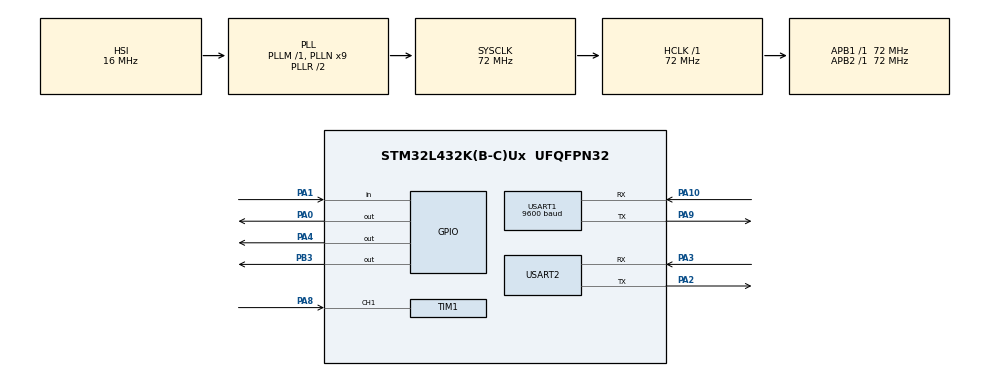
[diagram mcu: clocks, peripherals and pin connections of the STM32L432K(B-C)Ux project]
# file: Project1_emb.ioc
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Mcu.Family=STM32L4
Mcu.Name=STM32L432K(B-C)Ux
Mcu.Package=UFQFPN32
NVIC.PriorityGroup=NVIC_PRIORITYGROUP_4
NVIC.TIM1_CC_IRQn=true\:0\:0\:false\:false\:true\:true\:true
NVIC.USART1_IRQn=true\:0\:0\:false\:false\:true\:true\:true
PA0.Signal=GPIO_Output
PA1.Signal=GPIO_Input
PA10.Mode=Asynchronous
PA10.Signal=USART1_RX
PA13\ (JTMS-SWDIO).Mode=Serial_Wire
PA13\ (JTMS-SWDIO).Signal=SYS_JTMS-SWDIO
PA14\ (JTCK-SWCLK).Mode=Serial_Wire
PA14\ (JTCK-SWCLK).Signal=SYS_JTCK-SWCLK
PA2.Mode=Asynchronous
PA2.Signal=USART2_TX
PA3.Mode=Asynchronous
PA3.Signal=USART2_RX
PA4.Signal=GPIO_Output
PA8.Signal=S_TIM1_CH1
PA9.Mode=Asynchronous
PA9.Signal=USART1_TX
PB3\ (JTDO-TRACESWO).Signal=GPIO_Output
ProjectManager.HeapSize=0x200
ProjectManager.StackSize=0x400
ProjectManager.TargetToolchain=MDK-ARM V5
RCC.ADCFreq_Value=64000000
RCC.AHBFreq_Value=72000000
RCC.APB1Freq_Value=72000000
RCC.APB1TimFreq_Value=72000000
RCC.APB2Freq_Value=72000000
RCC.APB2TimFreq_Value=72000000
RCC.CortexFreq_Value=72000000
RCC.HCLKFreq_Value=72000000
RCC.HSE_VALUE=8000000
RCC.HSI48_VALUE=48000000
RCC.HSI_VALUE=16000000
RCC.LSE_VALUE=32768
RCC.MSI_VALUE=4000000
RCC.PLLN=9
RCC.PLLSourceVirtual=RCC_PLLSOURCE_HSI
RCC.SYSCLKFreq_VALUE=72000000
RCC.SYSCLKSource=RCC_SYSCLKSOURCE_PLLCLK
RCC.USBFreq_Value=64000000
RCC.VCOOutputFreq_Value=144000000
SH.S_TIM1_CH1.0=TIM1_CH1,Input_Capture1_from_TI1
TIM1.Channel-Input_Capture1_from_TI1=TIM_CHANNEL_1
TIM1.Period=0xffff-1
TIM1.Prescaler=72-1
USART1.BaudRate=9600
USART1.VirtualMode-Asynchronous=VM_ASYNC
USART2.VirtualMode-Asynchronous=VM_ASYNC
board=custom

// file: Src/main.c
/* USER CODE BEGIN Header */
/**
  ******************************************************************************
  * @file           : main.c
  * @brief          : Main program body
  ******************************************************************************
  * @attention
  *
  * <h2><center>&copy; Copyright (c) 2021 STMicroelectronics.
  * All rights reserved.</center></h2>
  *
  * This software component is licensed by ST under BSD 3-Clause license,
  * the "License"; You may not use this file except in compliance with the
  * License. You may obtain a copy of the License at:
  *                        opensource.org/licenses/BSD-3-Clause
  *
  ******************************************************************************
  */
/* USER CODE END Header */

#include "main.h"
#include <stdio.h>
#include <stdlib.h>

/* USER CODE BEGIN PM */
#define TRIG_PIN GPIO_PIN_0
#define TRIG_PORT GPIOA
#define buzz_pin GPIO_PIN_4
#define buzz_PORT GPIOA
/* USER CODE END PM */

TIM_HandleTypeDef htim1;

UART_HandleTypeDef huart1;
UART_HandleTypeDef huart2;

/* USER CODE BEGIN PV */
int taskCount;
struct task currentTask;
struct task readyQueue[255]={NULL};
struct task delayQueue[255]={NULL};
/* USER CODE END PV */

void SystemClock_Config(void);
static void MX_GPIO_Init(void);
static void MX_USART1_UART_Init(void);
static void MX_USART2_UART_Init(void);
static void MX_TIM1_Init(void);
uint8_t capture_counter;

/* USER CODE BEGIN 0 */
int num_of_elements(struct task queue[]){
	int i=0;
		while((queue[i].funcName != NULL)&& i < 255)
		{
			i++;
		}
		return i;
}

uint8_t hexToAscii(uint8_t n)//4-bit hex value converted to an ascii character
{
 if (n>=0 && n<=9) n = n + '0';
 else n = n - 10 + 'A';
 return n;
}

void init(){
	taskCount = 0;
	capture_counter = 0;
}

void swap(struct task *xp, struct task *yp)
{
    struct task temp = *xp;
    *xp = *yp;
    *yp = temp;
}

void bubbleSort(struct task arr[], int n)
{
   int i, j;
   for (i = 0; i < n-1; i++)
       // Last i elements are already in place
       for (j = 0; j < n-i-1; j++)
					if(arr[j].priority >= 1 && arr[j].priority <= 8 && arr[j+1].priority >= 1 && arr[j+1].priority <= 8){
           if (arr[j].priority > arr[j+1].priority)
              swap(&arr[j], &arr[j+1]);
				 }
}

void QueTask(int priority, void (*funcName)(void)){
	unsigned char temp[8] = {'F', 'A', 'I', 'L', '\r', '\n'};
	if(priority >= 1 && priority <= 8){
		int n = num_of_elements(readyQueue);
		if(n == 0){
			readyQueue[0].priority = priority;
			readyQueue[0].funcName = funcName;
			//taskCount++;
		}
		else{
			readyQueue[n].priority = priority;
			readyQueue[n].funcName = funcName;
			bubbleSort(readyQueue, taskCount);
			//taskCount++;
		}
	}
	else
		HAL_UART_Transmit(&huart2, temp, 6, 10);
}

void ReRunMe(int volatile delayUnit){
	if(delayUnit == 0){
		QueTask(currentTask.priority, currentTask.funcName);
	}
	else{
		int volatile n = num_of_elements(delayQueue);
		delayQueue[n].priority = currentTask.priority;
		delayQueue[n].funcName = currentTask.funcName;
		currentTask.delay = delayUnit;
		delayQueue[n].delay = currentTask.delay;
		currentTask.currentSysTick = HAL_GetTick();
	}
}

int shift(int incr, struct task queue[], int size){
	int i = 0;
	while(i <= size){
		queue[i] = queue[i+1];
		i++;
	}
	return(incr--);
}

void Dispatch(){
	int volatile n = num_of_elements(readyQueue);
	//int n = sizeof(readyQueue);
	if(n != 0){
		void (*func)(void) = readyQueue[0].funcName;
		currentTask.funcName = readyQueue[0].funcName;
		currentTask.priority = readyQueue[0].priority;
		func();
		shift(0, readyQueue, n);
		bubbleSort(readyQueue, n);
	}
}

// Let's write the callback function

void HAL_TIM_IC_CaptureCallback(TIM_HandleTypeDef *htim)
{
	if (htim->Channel == HAL_TIM_ACTIVE_CHANNEL_1)  // if the interrupt source is channel1
	{
		if (capture_counter==0)
		{
			capture_counter = 1;  // set the first captured as true
			HAL_GPIO_WritePin(buzz_PORT, buzz_pin, GPIO_PIN_RESET);
			// Now change the polarity to falling edge
			__HAL_TIM_SET_CAPTUREPOLARITY(htim, TIM_CHANNEL_1, TIM_INPUTCHANNELPOLARITY_FALLING);
		}

		else
		{
			__HAL_TIM_SET_COUNTER(htim, 0);  // reset the counter
			HAL_GPIO_WritePin(buzz_PORT, buzz_pin, GPIO_PIN_SET);
			capture_counter = 0; // set it back to false
			// set polarity to rising edge
			__HAL_TIM_SET_CAPTUREPOLARITY(htim, TIM_CHANNEL_1, TIM_INPUTCHANNELPOLARITY_RISING);
			__HAL_TIM_DISABLE_IT(&htim1, TIM_IT_CC1);
		}

	}
}

void TaskA(){
//	unsigned char temp[8] = {'T', 'A', 'S', 'K', ' ', '1', '\r', '\n'};
//	HAL_UART_Transmit(&huart2, temp, 8, 10);
//	ReRunMe(0);
	// do something here
	HAL_TIM_IC_Start_IT(&htim1, TIM_CHANNEL_1);
	HAL_GPIO_TogglePin(GPIOB, GPIO_PIN_3);
	// Rerun again after 10 ticks (500 msec)
	//ReRunMe(1000);
}

void TaskB(){
//	unsigned char temp[8] = {'T', 'A', 'S', 'K', ' ', '2', '\r', '\n'};
//	HAL_UART_Transmit(&huart2, temp, 8, 10);
//	ReRunMe(0);
	HAL_GPIO_WritePin(TRIG_PORT, TRIG_PIN, GPIO_PIN_SET);  // pull the TRIG pin HIGH
	HAL_Delay(10);  // wait for 10 us
	HAL_GPIO_WritePin(TRIG_PORT, TRIG_PIN, GPIO_PIN_RESET);  // pull the TRIG pin low

	__HAL_TIM_ENABLE_IT(&htim1, TIM_IT_CC1);
	// Rerun again after 10 ticks (500 msec)
	ReRunMe(1);
}
void TaskC(){
	unsigned char temp[8] = {'T', 'A', 'S', 'K', ' ', '3', '\r', '\n'};
	HAL_UART_Transmit(&huart2, temp, 8, 10);
	ReRunMe(0);
//	HAL_GPIO_WritePin(TRIG_PORT, TRIG_PIN, GPIO_PIN_SET);  // pull the TRIG pin HIGH
//	HAL_Delay(10);  // wait for 10 us
//	HAL_GPIO_WritePin(TRIG_PORT, TRIG_PIN, GPIO_PIN_RESET);  // pull the TRIG pin low

//	__HAL_TIM_ENABLE_IT(&htim1, TIM_IT_CC1);
//	// Rerun again after 10 ticks (500 msec)
//	ReRunMe(5);
}

void test(){
	// Tests
	unsigned char temp[11] = {'T', 'E', 'S', 'T', ' ', 'F', 'A', 'I', 'L', '\r', '\n'};
	unsigned char temp2[11] = {'T', 'E', 'S', 'T', ' ', 'S', 'U', 'C', 'C', '\r', '\n'};
	struct task test_shift[255] = {NULL};
	int xs = 0;
	int change = 0;
	for(xs = 0; xs < 50; xs++){
		if(change == 0){
			test_shift[xs].funcName = TaskA;
			test_shift[xs].priority = 1;
			TaskA();
			change = 1;
		}
		else{
			test_shift[xs].funcName = TaskB;
			test_shift[xs].priority = 4;
			TaskB();
			change = 0;
		}
	}
	for(xs = 0; xs < 50; xs++){
		void (*func)(void) = test_shift[xs].funcName;
		func();
	}
	int volatile n = num_of_elements(test_shift);
	bubbleSort(test_shift, n);
	if(n != 50)
		HAL_UART_Transmit(&huart2, temp, sizeof(temp), HAL_MAX_DELAY);
	else
		HAL_UART_Transmit(&huart2, temp2, 11, HAL_MAX_DELAY);
	shift(0, test_shift, n);
	n = num_of_elements(test_shift);
	if(n != 49)
		HAL_UART_Transmit(&huart2, temp, 11, HAL_MAX_DELAY);
	else
		HAL_UART_Transmit(&huart2, temp2, 11, HAL_MAX_DELAY);
}

/* USER CODE END 0 */

int main(void)
{

  /* MCU Configuration--------------------------------------------------------*/

  /* Reset of all peripherals, Initializes the Flash interface and the Systick. */
  HAL_Init();

  /* Configure the system clock */
  SystemClock_Config();

  /* Initialize all configured peripherals */
  MX_GPIO_Init();
  MX_USART1_UART_Init();
  MX_USART2_UART_Init();
  MX_TIM1_Init();
  /* USER CODE BEGIN 2 */
	init();
	QueTask(1,TaskA);
	QueTask(2,TaskB);
  /* USER CODE END 2 */

  /* Infinite loop */
  while (1)
  {
		Dispatch();
    /* USER CODE BEGIN 3 */
//		HCSR04_Read();
//		HAL_Delay(200);
  }
  /* USER CODE END 3 */
}

void SystemClock_Config(void)
{
  RCC_OscInitTypeDef RCC_OscInitStruct = {0};
  RCC_ClkInitTypeDef RCC_ClkInitStruct = {0};
  RCC_PeriphCLKInitTypeDef PeriphClkInit = {0};

  /** Initializes the CPU, AHB and APB busses clocks
  */
  RCC_OscInitStruct.OscillatorType = RCC_OSCILLATORTYPE_HSI;
  RCC_OscInitStruct.HSIState = RCC_HSI_ON;
  RCC_OscInitStruct.HSICalibrationValue = RCC_HSICALIBRATION_DEFAULT;
  RCC_OscInitStruct.PLL.PLLState = RCC_PLL_ON;
  RCC_OscInitStruct.PLL.PLLSource = RCC_PLLSOURCE_HSI;
  RCC_OscInitStruct.PLL.PLLM = 1;
  RCC_OscInitStruct.PLL.PLLN = 9;
  RCC_OscInitStruct.PLL.PLLP = RCC_PLLP_DIV7;
  RCC_OscInitStruct.PLL.PLLQ = RCC_PLLQ_DIV2;
  RCC_OscInitStruct.PLL.PLLR = RCC_PLLR_DIV2;
  if (HAL_RCC_OscConfig(&RCC_OscInitStruct) != HAL_OK)
  {
    Error_Handler();
  }
  /** Initializes the CPU, AHB and APB busses clocks
  */
  RCC_ClkInitStruct.ClockType = RCC_CLOCKTYPE_HCLK|RCC_CLOCKTYPE_SYSCLK
                              |RCC_CLOCKTYPE_PCLK1|RCC_CLOCKTYPE_PCLK2;
  RCC_ClkInitStruct.SYSCLKSource = RCC_SYSCLKSOURCE_PLLCLK;
  RCC_ClkInitStruct.AHBCLKDivider = RCC_SYSCLK_DIV1;
  RCC_ClkInitStruct.APB1CLKDivider = RCC_HCLK_DIV1;
  RCC_ClkInitStruct.APB2CLKDivider = RCC_HCLK_DIV1;

  if (HAL_RCC_ClockConfig(&RCC_ClkInitStruct, FLASH_LATENCY_4) != HAL_OK)
  {
    Error_Handler();
  }
  PeriphClkInit.PeriphClockSelection = RCC_PERIPHCLK_USART1|RCC_PERIPHCLK_USART2;
  PeriphClkInit.Usart1ClockSelection = RCC_USART1CLKSOURCE_PCLK2;
  PeriphClkInit.Usart2ClockSelection = RCC_USART2CLKSOURCE_PCLK1;
  if (HAL_RCCEx_PeriphCLKConfig(&PeriphClkInit) != HAL_OK)
  {
    Error_Handler();
  }
  /** Configure the main internal regulator output voltage
  */
  if (HAL_PWREx_ControlVoltageScaling(PWR_REGULATOR_VOLTAGE_SCALE1) != HAL_OK)
  {
    Error_Handler();
  }
}

static void MX_TIM1_Init(void)
{

  TIM_MasterConfigTypeDef sMasterConfig = {0};
  TIM_IC_InitTypeDef sConfigIC = {0};

  htim1.Instance = TIM1;
  htim1.Init.Prescaler = 72-1;
  htim1.Init.CounterMode = TIM_COUNTERMODE_UP;
  htim1.Init.Period = 0xffff-1;
  htim1.Init.ClockDivision = TIM_CLOCKDIVISION_DIV1;
  htim1.Init.RepetitionCounter = 0;
  htim1.Init.AutoReloadPreload = TIM_AUTORELOAD_PRELOAD_DISABLE;
  if (HAL_TIM_IC_Init(&htim1) != HAL_OK)
  {
    Error_Handler();
  }
  sMasterConfig.MasterOutputTrigger = TIM_TRGO_RESET;
  sMasterConfig.MasterOutputTrigger2 = TIM_TRGO2_RESET;
  sMasterConfig.MasterSlaveMode = TIM_MASTERSLAVEMODE_DISABLE;
  if (HAL_TIMEx_MasterConfigSynchronization(&htim1, &sMasterConfig) != HAL_OK)
  {
    Error_Handler();
  }
  sConfigIC.ICPolarity = TIM_INPUTCHANNELPOLARITY_RISING;
  sConfigIC.ICSelection = TIM_ICSELECTION_DIRECTTI;
  sConfigIC.ICPrescaler = TIM_ICPSC_DIV1;
  sConfigIC.ICFilter = 0;
  if (HAL_TIM_IC_ConfigChannel(&htim1, &sConfigIC, TIM_CHANNEL_1) != HAL_OK)
  {
    Error_Handler();
  }

}

static void MX_USART1_UART_Init(void)
{

  huart1.Instance = USART1;
  huart1.Init.BaudRate = 9600;
  huart1.Init.WordLength = UART_WORDLENGTH_8B;
  huart1.Init.StopBits = UART_STOPBITS_1;
  huart1.Init.Parity = UART_PARITY_NONE;
  huart1.Init.Mode = UART_MODE_TX_RX;
  huart1.Init.HwFlowCtl = UART_HWCONTROL_NONE;
  huart1.Init.OverSampling = UART_OVERSAMPLING_16;
  huart1.Init.OneBitSampling = UART_ONE_BIT_SAMPLE_DISABLE;
  huart1.AdvancedInit.AdvFeatureInit = UART_ADVFEATURE_NO_INIT;
  if (HAL_UART_Init(&huart1) != HAL_OK)
  {
    Error_Handler();
  }

}

static void MX_USART2_UART_Init(void)
{

  huart2.Instance = USART2;
  huart2.Init.BaudRate = 9600;
  huart2.Init.WordLength = UART_WORDLENGTH_8B;
  huart2.Init.StopBits = UART_STOPBITS_1;
  huart2.Init.Parity = UART_PARITY_NONE;
  huart2.Init.Mode = UART_MODE_TX_RX;
  huart2.Init.HwFlowCtl = UART_HWCONTROL_NONE;
  huart2.Init.OverSampling = UART_OVERSAMPLING_16;
  huart2.Init.OneBitSampling = UART_ONE_BIT_SAMPLE_DISABLE;
  huart2.AdvancedInit.AdvFeatureInit = UART_ADVFEATURE_NO_INIT;
  if (HAL_UART_Init(&huart2) != HAL_OK)
  {
    Error_Handler();
  }

}

static void MX_GPIO_Init(void)
{
  GPIO_InitTypeDef GPIO_InitStruct = {0};

  /* GPIO Ports Clock Enable */
  __HAL_RCC_GPIOA_CLK_ENABLE();
  __HAL_RCC_GPIOB_CLK_ENABLE();

  /*Configure GPIO pin Output Level */
  HAL_GPIO_WritePin(GPIOA, GPIO_PIN_0|GPIO_PIN_4, GPIO_PIN_RESET);

  /*Configure GPIO pin Output Level */
  HAL_GPIO_WritePin(GPIOB, GPIO_PIN_3, GPIO_PIN_RESET);

  /*Configure GPIO pins : PA0 PA4 */
  GPIO_InitStruct.Pin = GPIO_PIN_0|GPIO_PIN_4;
  GPIO_InitStruct.Mode = GPIO_MODE_OUTPUT_PP;
  GPIO_InitStruct.Pull = GPIO_NOPULL;
  GPIO_InitStruct.Speed = GPIO_SPEED_FREQ_LOW;
  HAL_GPIO_Init(GPIOA, &GPIO_InitStruct);

  /*Configure GPIO pin : PA1 */
  GPIO_InitStruct.Pin = GPIO_PIN_1;
  GPIO_InitStruct.Mode = GPIO_MODE_INPUT;
  GPIO_InitStruct.Pull = GPIO_NOPULL;
  HAL_GPIO_Init(GPIOA, &GPIO_InitStruct);

  /*Configure GPIO pin : PB3 */
  GPIO_InitStruct.Pin = GPIO_PIN_3;
  GPIO_InitStruct.Mode = GPIO_MODE_OUTPUT_PP;
  GPIO_InitStruct.Pull = GPIO_NOPULL;
  GPIO_InitStruct.Speed = GPIO_SPEED_FREQ_LOW;
  HAL_GPIO_Init(GPIOB, &GPIO_InitStruct);

}

void Error_Handler(void)
{
}

/************************ (C) COPYRIGHT STMicroelectronics *****END OF FILE****/
